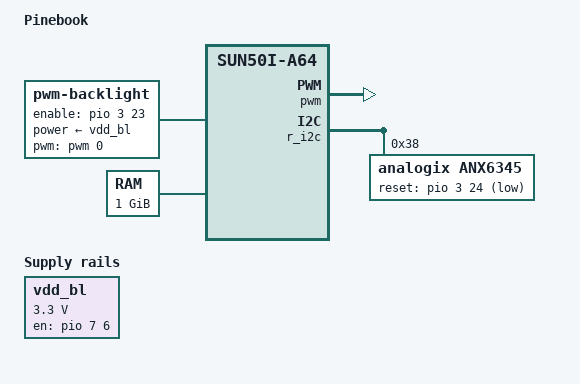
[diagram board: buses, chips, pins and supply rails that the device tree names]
/*
 * Copyright (c) 2016 ARM Ltd.
 *
 * This file is dual-licensed: you can use it either under the terms
 * of the GPL or the X11 license, at your option. Note that this dual
 * licensing only applies to this file, and not this project as a
 * whole.
 *
 *  a) This library is free software; you can redistribute it and/or
 *     modify it under the terms of the GNU General Public License as
 *     published by the Free Software Foundation; either version 2 of the
 *     License, or (at your option) any later version.
 *
 *     This library is distributed in the hope that it will be useful,
 *     but WITHOUT ANY WARRANTY; without even the implied warranty of
 *     MERCHANTABILITY or FITNESS FOR A PARTICULAR PURPOSE.  See the
 *     GNU General Public License for more details.
 *
 * Or, alternatively,
 *
 *  b) Permission is hereby granted, free of charge, to any person
 *     obtaining a copy of this software and associated documentation
 *     files (the "Software"), to deal in the Software without
 *     restriction, including without limitation the rights to use,
 *     copy, modify, merge, publish, distribute, sublicense, and/or
 *     sell copies of the Software, and to permit persons to whom the
 *     Software is furnished to do so, subject to the following
 *     conditions:
 *
 *     The above copyright notice and this permission notice shall be
 *     included in all copies or substantial portions of the Software.
 *
 *     THE SOFTWARE IS PROVIDED "AS IS", WITHOUT WARRANTY OF ANY KIND,
 *     EXPRESS OR IMPLIED, INCLUDING BUT NOT LIMITED TO THE WARRANTIES
 *     OF MERCHANTABILITY, FITNESS FOR A PARTICULAR PURPOSE AND
 *     NONINFRINGEMENT. IN NO EVENT SHALL THE AUTHORS OR COPYRIGHT
 *     HOLDERS BE LIABLE FOR ANY CLAIM, DAMAGES OR OTHER LIABILITY,
 *     WHETHER IN AN ACTION OF CONTRACT, TORT OR OTHERWISE, ARISING
 *     FROM, OUT OF OR IN CONNECTION WITH THE SOFTWARE OR THE USE OR
 *     OTHER DEALINGS IN THE SOFTWARE.
 */

/dts-v1/;

#include <dt-bindings/pwm/pwm.h>
#include "sun50i-a64-pine64.dts"

/ {
	model = "Pinebook";
	compatible = "pine64,pinebook", "allwinner,sun50i-a64";

	aliases {
		serial0 = &uart0;
		i2c0 = "/i2c@1f02400";
	};

	vdd_bl: regulator@0 {
		compatible = "regulator-fixed";
		regulator-name = "bl-3v3";
		regulator-min-microvolt = <3300000>;
		regulator-max-microvolt = <3300000>;
		gpio = <&pio 7 6 GPIO_ACTIVE_HIGH>; /* PH6 */
		enable-active-high;
	};


	backlight: backlight {
		compatible = "pwm-backlight";
		pwms = <&pwm 0 50000 0>;
		brightness-levels = <0 10 20 30 40 50 60 70 100>;
		default-brightness-level = <3>;
		enable-gpios = <&pio 3 23 GPIO_ACTIVE_HIGH>; /* PD23 */
		power-supply = <&vdd_bl>;
	};

	chosen {
		stdout-path = "serial0:115200n8";
	};

	memory {
		reg = <0x40000000 0x40000000>;
	};
};

&pwm {
	status = "okay";
};

&r_i2c {
	pinctrl-names = "default";
	pinctrl-0 = <&r_i2c_pins_a>;
	status = "okay";
	anx6345: edp-bridge@38 {
		compatible = "analogix,anx6345";
		reg = <0x38>;
		reset-gpios = <&pio 3 24 GPIO_ACTIVE_LOW>; /* PD24 */
		status = "okay";
	};
};
